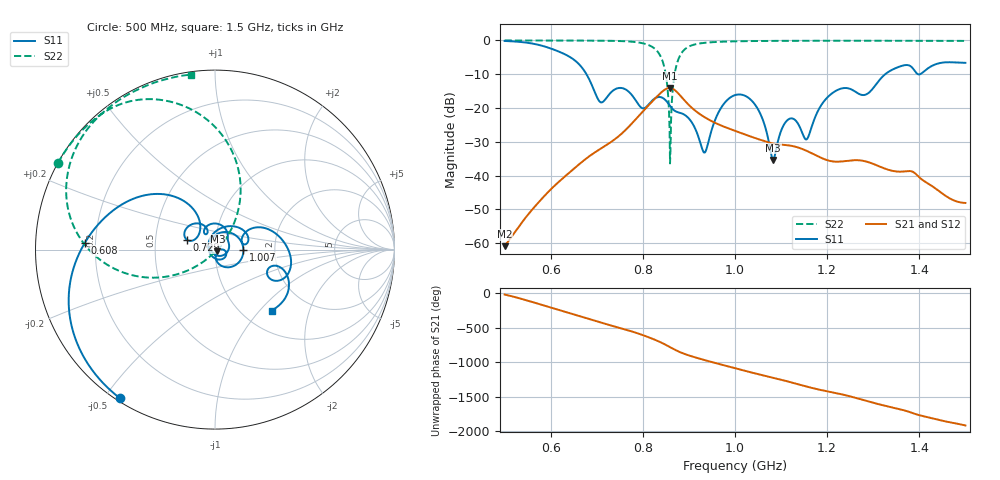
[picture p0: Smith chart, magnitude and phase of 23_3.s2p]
! TOUCHSTONE file generated by CST MICROWAVE STUDIO
! Date and time: Fri Oct  2 16:37:35 2020
! Project name: Scenario_1_Free_Space_out_of_line.cst
! Parameters = {Lambda=346.42; Step_1=17.321; dy1=-33.862; dx1=520; L_HA=400; MT=2.54; Rad_Dielectric=30; Rad_Lower=7.3; Rad_Upper=30; a_HA=580; a_WG=246; b_HA=500; b_WG=121; c_HA=0; c_WG=187; d_feed=85; h_feed=15; h_lower=18; h_upper=40}
! Header version: 2018
! Port assignment regex: !\s*Touchstone port\s*([0-9]+)\s*=\s*(CST MWS port|CST DS port)\s*([0-9]+|Zmin|Zmax)\s*\(\"(.*)\"\)(\s*mode\s*([0-9]+))?.*
! Touchstone port assignment:
! Touchstone port 1 = CST MWS port 1 ("")
! Touchstone port 2 = CST MWS port 2 ("")
# GHz S DB R 50
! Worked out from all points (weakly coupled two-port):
!   1003 points, 500 MHz to 1.5 GHz, reference 50 ohm
!   highest |S21| = -14.07 dB at 858 MHz (marker M1); lowest = -60.9 dB at 500 MHz (marker M2)
!   lowest |S11| = -35.4 dB at 1.083 GHz (marker M3), VSWR 1.03, Z = 51.4 - j1.06 ohm
!   |S11| at or under -10 dB: 677.6 MHz to 1.326 GHz (648.4 MHz wide, 64.7 % of centre); 1.397183 GHz to 1.401498 GHz (4.315 MHz wide, 0.308 % of centre)
!   |S22| runs from -36.4 to 0.0 dB; largest |S21 - S12| = 1.3e-05
!   S11 on the Smith chart (normalised r, x): 500 MHz: 0.01, -0.55; 608 MHz: 0.16, +0.03; 729 MHz: 0.73, +0.08; 1.007 GHz: 1.38, -0.01; 1.5 GHz: 1.34, -1.17
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0.5  -0.15 -122.7  -60.91 -17.5  -60.91 -17.5  -0.01 151.2
0.608  -2.78 177.1  -43.06 139.0  -43.06 139.0  -0.02 143.5
0.667  -7.89 130.8  -36.07 21.2  -36.07 21.2  -0.04 138.3
0.706  -18.06 134.9  -32.26 -58.4  -32.26 -58.4  -0.08 134.1
0.729  -15.65 160.8  -30.25 -102.6  -30.25 -102.6  -0.11 130.9
0.834  -16.75 94.7  -16.17 24.8  -16.16 24.8  -3.66 87.8
0.848  -17.52 66.7  -14.53 -20.2  -14.53 -20.2  -8.78 66.9
0.858  -19.18 49.9  -14.07 -56.1  -14.07 -56.1  -26.44 38.3
0.88  -21.40 26.6  -16.13 -130.3  -16.13 -130.3  -4.68 -170.3
0.934  -33.21 -148.7  -22.73 112.7  -22.73 112.7  -0.71 153.1
0.966  -20.83 79.1  -24.96 54.8  -24.96 54.8  -0.41 145.5
1  -16.19 12.0  -26.76 -5.4  -26.76 -5.4  -0.26 140.2
1.007  -16.00 -0.7  -27.11 -17.7  -27.11 -17.7  -0.24 139.3
1.05  -20.40 -69.1  -29.20 -91.3  -29.20 -91.3  -0.17 134.4
1.083  -35.42 -37.5  -30.54 -144.7  -30.54 -144.7  -0.13 131.2
1.115  -23.46 -20.3  -31.04 162.0  -31.04 162.0  -0.12 128.4
1.154  -29.32 -155.6  -32.59 91.1  -32.59 91.1  -0.10 125.2
1.167  -25.33 130.0  -33.43 69.0  -33.44 69.0  -0.09 124.2
1.212  -15.52 50.5  -35.82 3.7  -35.82 3.7  -0.08 120.7
1.284  -16.02 20.3  -35.82 -116.7  -35.82 -116.7  -0.09 115.3
1.334  -9.22 15.7  -38.34 157.2  -38.34 157.2  -0.09 111.5
1.5  -6.63 -47.2  -48.11 -115.0  -48.11 -115.0  -0.14 97.9
